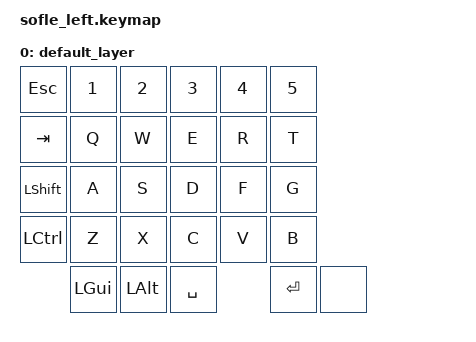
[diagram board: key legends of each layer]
#include <behaviors.dtsi>
#include <dt-bindings/zmk/keys.h>

/ {
    keymap {
        compatible = "zmk,keymap";

        default_layer {
            bindings = <
                &kp ESC   &kp N1 &kp N2 &kp N3   &kp N4   &kp N5
                &kp TAB   &kp Q  &kp W  &kp E    &kp R    &kp T
                &kp LSHFT &kp A  &kp S  &kp D    &kp F    &kp G
                &kp LCTRL &kp Z  &kp X  &kp C    &kp V    &kp B
                          &kp LGUI &kp LALT &kp SPACE &kp RET &none
            >;
        };
    };
};
